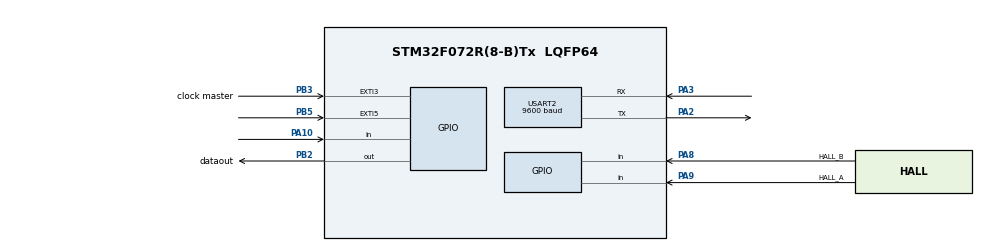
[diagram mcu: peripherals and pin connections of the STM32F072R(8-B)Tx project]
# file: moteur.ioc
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Mcu.Family=STM32F0
Mcu.Name=STM32F072R(8-B)Tx
Mcu.Package=LQFP64
NVIC.EXTI2_3_IRQn=true\:0\:0\:false\:false\:true\:true\:true\:true
PA10.Signal=GPIO_Input
PA2.Mode=Asynchronous
PA2.Signal=USART2_TX
PA3.Mode=Asynchronous
PA3.Signal=USART2_RX
PA8.GPIO_Label=HALL_B
PA8.GPIO_PuPd=GPIO_PULLDOWN
PA8.Signal=GPIO_Input
PA9.GPIO_Label=HALL_A
PA9.GPIO_PuPd=GPIO_PULLDOWN
PA9.Signal=GPIO_Input
PB2.GPIO_Label=dataout
PB2.GPIO_PuPd=GPIO_PULLDOWN
PB2.GPIO_Speed=GPIO_SPEED_FREQ_HIGH
PB2.Signal=GPIO_Output
PB3.GPIO_Label=clock master 
PB3.GPIO_ModeDefaultEXTI=GPIO_MODE_IT_FALLING
PB3.Signal=GPXTI3
PB5.Signal=GPXTI5
ProjectManager.HeapSize=0x200
ProjectManager.StackSize=0x400
ProjectManager.TargetToolchain=STM32CubeIDE
USART2.BaudRate=9600
USART2.VirtualMode-Asynchronous=VM_ASYNC
board=custom

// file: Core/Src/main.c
/* USER CODE BEGIN Header */
/**
  ******************************************************************************
  * @file           : main.c
  * @brief          : Main program body
  ******************************************************************************
  * @attention
  *
  * Copyright (c) 2023 STMicroelectronics.
  * All rights reserved.
  *
  * This software is licensed under terms that can be found in the LICENSE file
  * in the root directory of this software component.
  * If no LICENSE file comes with this software, it is provided AS-IS.
  *
  ******************************************************************************
  */
/* USER CODE END Header */
#include "main.h"

/* USER CODE BEGIN PD */
// Nombre de paires de pôles sur le rotor
#define PAIRES_DE_POLES 3
/* USER CODE END PD */

UART_HandleTypeDef huart2;

/* USER CODE BEGIN PV */
uint8_t data [20];
int send_flag;

/* USER CODE END PV */

void SystemClock_Config(void);
static void MX_GPIO_Init(void);
static void MX_USART2_UART_Init(void);
/* USER CODE BEGIN PFP */
static void MX_GPIO_Init_perso(int type);
/* USER CODE END PFP */

int main(void)
{
  /* USER CODE BEGIN 1 */
	//int total_angle = 0;  // Utilisé pour stocker l'angle total parcouru
	uint16_t angle_increment = 360.0 / (2.0 * PAIRES_DE_POLES * 30);// Angle associé à chaque transition des capteurs
	int state_Hal_A;
	int state_Hal_B;
	int old_state_Hal_A = 0;
	int old_state_Hal_B = 0;
	uint16_t total_angle;
	uint16_t total_angle_copy;

	uint8_t angle_bit_array [16];

  /* USER CODE END 1 */

  /* MCU Configuration--------------------------------------------------------*/

  /* Reset of all peripherals, Initializes the Flash interface and the Systick. */
  HAL_Init();

  /* Configure the system clock */
  SystemClock_Config();

  /* Initialize all configured peripherals */
  MX_GPIO_Init();
  MX_USART2_UART_Init();
  /* USER CODE BEGIN 2 */
  old_state_Hal_A = HAL_GPIO_ReadPin(GPIOA, 9);
  old_state_Hal_B = HAL_GPIO_ReadPin(GPIOA, 8);
  total_angle = 0;
  total_angle_copy = 0;
  HAL_GPIO_WritePin(GPIOB,GPIO_PIN_2, 1);
  /* USER CODE END 2 */

  /* Infinite loop */
  while (1)
  {

    /* USER CODE BEGIN 3 */
	  if(send_flag){
		  if(send_flag == 1){
			HAL_GPIO_WritePin(GPIOB,GPIO_PIN_2, 0 );
			total_angle_copy = total_angle;
			MX_GPIO_Init_perso(1);
			// Parcours des bits de droite à gauche (du bit 7 au bit 0)
			for (int i = 15; i >= 0; i--) {
				// Opération de décalage à droite pour isoler le bit
				unsigned char bit = (total_angle_copy >> i) & 0x01;
				angle_bit_array[i]=bit;
			}
			//HAL_GPIO_WritePin(GPIOB, 2, angle_bit_array[send_flag-1]);
		  }
		  else{
			  //int test = angle_bit_array[send_flag-2];
			if(angle_bit_array[send_flag-2] == 1){
				//int test = angle_bit_array[send_flag-2];
				HAL_GPIO_WritePin(GPIOB,GPIO_PIN_2, 1 );
			}
			else{
				HAL_GPIO_WritePin(GPIOB,GPIO_PIN_2, 0 );
			}
		  }
	  }
	  else{
		  HAL_GPIO_WritePin(GPIOB,GPIO_PIN_2, 1);
	  }

	  if(send_flag>21){
		MX_GPIO_Init_perso(0);
		send_flag=0;
		//HAL_GPIO_WritePin(GPIOB,GPIO_PIN_2, 0 );
	  }

	  state_Hal_A = HAL_GPIO_ReadPin(HALL_A_GPIO_Port, HALL_A_Pin);
	  /*memset(data,'0',sizeof(data));
	  sprintf(data,"%i",state_Hal_A);
	  HAL_UART_Transmit(&huart2, data, 5, 10);
	  HAL_UART_Transmit(&huart2, "-", 1, 10);
	  HAL_Delay(10);*/
	  state_Hal_B = HAL_GPIO_ReadPin(HALL_B_GPIO_Port, HALL_B_Pin);
	  /*memset(data,'0',sizeof(data));
	  sprintf(data,"%i",state_Hal_B);
	  HAL_UART_Transmit(&huart2, data, 5, 10);
	  HAL_UART_Transmit(&huart2, "\n\r", 5, 10);
	  HAL_Delay(1000);*/

	  if(state_Hal_A != old_state_Hal_A){
		  if(state_Hal_A!=state_Hal_B){
			  // sens positif + 90°
			  total_angle += angle_increment;
		  }
		  else if(state_Hal_A == state_Hal_B){
			  //sens - 90°
			  total_angle -= angle_increment;
		  }
	  }
	  old_state_Hal_A = state_Hal_A;
	  old_state_Hal_B = state_Hal_B;
  }
  /* USER CODE END 3 */
}

void SystemClock_Config(void)
{
  RCC_OscInitTypeDef RCC_OscInitStruct = {0};
  RCC_ClkInitTypeDef RCC_ClkInitStruct = {0};
  RCC_PeriphCLKInitTypeDef PeriphClkInit = {0};

  /** Initializes the RCC Oscillators according to the specified parameters
  * in the RCC_OscInitTypeDef structure.
  */
  RCC_OscInitStruct.OscillatorType = RCC_OSCILLATORTYPE_HSI;
  RCC_OscInitStruct.HSIState = RCC_HSI_ON;
  RCC_OscInitStruct.HSICalibrationValue = RCC_HSICALIBRATION_DEFAULT;
  RCC_OscInitStruct.PLL.PLLState = RCC_PLL_NONE;
  if (HAL_RCC_OscConfig(&RCC_OscInitStruct) != HAL_OK)
  {
    Error_Handler();
  }

  /** Initializes the CPU, AHB and APB buses clocks
  */
  RCC_ClkInitStruct.ClockType = RCC_CLOCKTYPE_HCLK|RCC_CLOCKTYPE_SYSCLK
                              |RCC_CLOCKTYPE_PCLK1;
  RCC_ClkInitStruct.SYSCLKSource = RCC_SYSCLKSOURCE_HSI;
  RCC_ClkInitStruct.AHBCLKDivider = RCC_SYSCLK_DIV1;
  RCC_ClkInitStruct.APB1CLKDivider = RCC_HCLK_DIV1;

  if (HAL_RCC_ClockConfig(&RCC_ClkInitStruct, FLASH_LATENCY_0) != HAL_OK)
  {
    Error_Handler();
  }
  PeriphClkInit.PeriphClockSelection = RCC_PERIPHCLK_USART2;
  PeriphClkInit.Usart2ClockSelection = RCC_USART2CLKSOURCE_PCLK1;
  if (HAL_RCCEx_PeriphCLKConfig(&PeriphClkInit) != HAL_OK)
  {
    Error_Handler();
  }
}

static void MX_USART2_UART_Init(void)
{

  huart2.Instance = USART2;
  huart2.Init.BaudRate = 9600;
  huart2.Init.WordLength = UART_WORDLENGTH_8B;
  huart2.Init.StopBits = UART_STOPBITS_1;
  huart2.Init.Parity = UART_PARITY_NONE;
  huart2.Init.Mode = UART_MODE_TX_RX;
  huart2.Init.HwFlowCtl = UART_HWCONTROL_NONE;
  huart2.Init.OverSampling = UART_OVERSAMPLING_16;
  huart2.Init.OneBitSampling = UART_ONE_BIT_SAMPLE_DISABLE;
  huart2.AdvancedInit.AdvFeatureInit = UART_ADVFEATURE_NO_INIT;
  if (HAL_UART_Init(&huart2) != HAL_OK)
  {
    Error_Handler();
  }

}

static void MX_GPIO_Init(void)
{
  GPIO_InitTypeDef GPIO_InitStruct = {0};

  /* GPIO Ports Clock Enable */
  __HAL_RCC_GPIOA_CLK_ENABLE();
  __HAL_RCC_GPIOB_CLK_ENABLE();

  /*Configure GPIO pin Output Level */
  HAL_GPIO_WritePin(dataout_GPIO_Port, dataout_Pin, GPIO_PIN_RESET);

  /*Configure GPIO pin : dataout_Pin */
  GPIO_InitStruct.Pin = dataout_Pin;
  GPIO_InitStruct.Mode = GPIO_MODE_OUTPUT_PP;
  GPIO_InitStruct.Pull = GPIO_PULLDOWN;
  GPIO_InitStruct.Speed = GPIO_SPEED_FREQ_HIGH;
  HAL_GPIO_Init(dataout_GPIO_Port, &GPIO_InitStruct);

  /*Configure GPIO pins : HALL_B_Pin HALL_A_Pin */
  GPIO_InitStruct.Pin = HALL_B_Pin|HALL_A_Pin;
  GPIO_InitStruct.Mode = GPIO_MODE_INPUT;
  GPIO_InitStruct.Pull = GPIO_PULLDOWN;
  HAL_GPIO_Init(GPIOA, &GPIO_InitStruct);

  /*Configure GPIO pin : PA10 */
  GPIO_InitStruct.Pin = GPIO_PIN_10;
  GPIO_InitStruct.Mode = GPIO_MODE_INPUT;
  GPIO_InitStruct.Pull = GPIO_NOPULL;
  HAL_GPIO_Init(GPIOA, &GPIO_InitStruct);

  /*Configure GPIO pin : clock_master_Pin */
  GPIO_InitStruct.Pin = clock_master_Pin;
  GPIO_InitStruct.Mode = GPIO_MODE_IT_FALLING;
  GPIO_InitStruct.Pull = GPIO_NOPULL;
  HAL_GPIO_Init(clock_master_GPIO_Port, &GPIO_InitStruct);

  /*Configure GPIO pin : PB5 */
  GPIO_InitStruct.Pin = GPIO_PIN_5;
  GPIO_InitStruct.Mode = GPIO_MODE_IT_RISING;
  GPIO_InitStruct.Pull = GPIO_NOPULL;
  HAL_GPIO_Init(GPIOB, &GPIO_InitStruct);

  /* EXTI interrupt init*/
  HAL_NVIC_SetPriority(EXTI2_3_IRQn, 0, 0);
  HAL_NVIC_EnableIRQ(EXTI2_3_IRQn);

}

/* USER CODE BEGIN 4 */
static void MX_GPIO_Init_perso(int type)
{
  GPIO_InitTypeDef GPIO_InitStruct = {0};

  GPIO_InitStruct.Pin = clock_master_Pin;
  if(type==1){
	  GPIO_InitStruct.Mode = GPIO_MODE_IT_RISING;
  }
  else{
	  GPIO_InitStruct.Mode = GPIO_MODE_IT_FALLING;
  }
  GPIO_InitStruct.Pull = GPIO_NOPULL;
  HAL_GPIO_Init(clock_master_GPIO_Port, &GPIO_InitStruct);

}
/* USER CODE END 4 */

void Error_Handler(void)
{
  __disable_irq();
  while (1)
  {
  }
}
